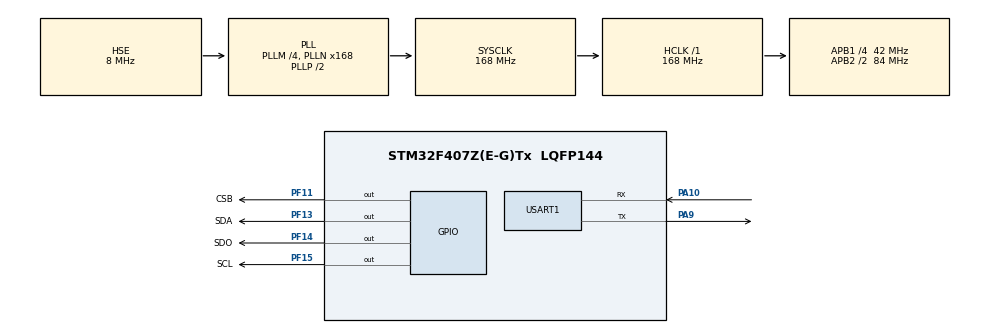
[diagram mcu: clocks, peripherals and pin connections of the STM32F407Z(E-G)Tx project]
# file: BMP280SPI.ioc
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Mcu.Family=STM32F4
Mcu.Name=STM32F407Z(E-G)Tx
Mcu.Package=LQFP144
NVIC.PriorityGroup=NVIC_PRIORITYGROUP_4
PA10.Mode=Asynchronous
PA10.Signal=USART1_RX
PA13.Mode=Serial_Wire
PA13.Signal=SYS_JTMS-SWDIO
PA14.Mode=Serial_Wire
PA14.Signal=SYS_JTCK-SWCLK
PA9.Mode=Asynchronous
PA9.Signal=USART1_TX
PC14-OSC32_IN.Mode=LSE-External-Oscillator
PC14-OSC32_IN.Signal=RCC_OSC32_IN
PC15-OSC32_OUT.Mode=LSE-External-Oscillator
PC15-OSC32_OUT.Signal=RCC_OSC32_OUT
PF11.GPIO_Label=CSB
PF11.Signal=GPIO_Output
PF13.GPIO_Label=SDA
PF13.Signal=GPIO_Output
PF14.GPIO_Label=SDO
PF14.Signal=GPIO_Output
PF15.GPIO_Label=SCL
PF15.Signal=GPIO_Output
PH0-OSC_IN.Mode=HSE-External-Oscillator
PH0-OSC_IN.Signal=RCC_OSC_IN
PH1-OSC_OUT.Mode=HSE-External-Oscillator
PH1-OSC_OUT.Signal=RCC_OSC_OUT
ProjectManager.HeapSize=0x200
ProjectManager.StackSize=0x400
ProjectManager.TargetToolchain=MDK-ARM V5.27
RCC.48MHZClocksFreq_Value=84000000
RCC.AHBFreq_Value=168000000
RCC.APB1CLKDivider=RCC_HCLK_DIV4
RCC.APB1Freq_Value=42000000
RCC.APB1TimFreq_Value=84000000
RCC.APB2CLKDivider=RCC_HCLK_DIV2
RCC.APB2Freq_Value=84000000
RCC.APB2TimFreq_Value=168000000
RCC.CortexFreq_Value=168000000
RCC.HCLKFreq_Value=168000000
RCC.HSE_VALUE=8000000
RCC.HSI_VALUE=16000000
RCC.PLLM=4
RCC.PLLN=168
RCC.PLLSourceVirtual=RCC_PLLSOURCE_HSE
RCC.SYSCLKFreq_VALUE=168000000
RCC.SYSCLKSource=RCC_SYSCLKSOURCE_PLLCLK
RCC.VCOOutputFreq_Value=336000000
USART1.VirtualMode=VM_ASYNC
board=custom

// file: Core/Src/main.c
/* USER CODE BEGIN Header */
/**
  ******************************************************************************
  * @file           : main.c
  * @brief          : Main program body
  ******************************************************************************
  * @attention
  *
  * <h2><center>&copy; Copyright (c) 2021 STMicroelectronics.
  * All rights reserved.</center></h2>
  *
  * This software component is licensed by ST under BSD 3-Clause license,
  * the "License"; You may not use this file except in compliance with the
  * License. You may obtain a copy of the License at:
  *                        opensource.org/licenses/BSD-3-Clause
  *
  ******************************************************************************
  */
/* USER CODE END Header */
#include "main.h"
#include "usart.h"
#include "gpio.h"

/* USER CODE BEGIN Includes */
#include "stdio.h"
uint8_t ch;
int fputc(int c,FILE *F){
	ch=c;
	HAL_UART_Transmit(&huart1,&ch,1,1000);
	return c;
}
#include "SPI.h"
/* USER CODE END Includes */

void SystemClock_Config(void);

int main(void)
{

  /* MCU Configuration--------------------------------------------------------*/

  /* Reset of all peripherals, Initializes the Flash interface and the Systick. */
  HAL_Init();

  /* Configure the system clock */
  SystemClock_Config();

  /* Initialize all configured peripherals */
  MX_GPIO_Init();
  MX_USART1_UART_Init();
  /* USER CODE BEGIN 2 */
	SPI_Init();
	SPI_CSB = 0;
	uint8_t ID;
	SPI_WriteByte(0xD0);
	ID = SPI_ReadByte();
	SPI_CSB = 1;
	printf("ID=%d\r\n",ID);
	SPI_SDA=0;
	HAL_Delay(100);
  /* USER CODE END 2 */

  /* Infinite loop */
  while (1)
  {

  }
}

void SystemClock_Config(void)
{
  RCC_OscInitTypeDef RCC_OscInitStruct = {0};
  RCC_ClkInitTypeDef RCC_ClkInitStruct = {0};

  /** Configure the main internal regulator output voltage
  */
  __HAL_RCC_PWR_CLK_ENABLE();
  __HAL_PWR_VOLTAGESCALING_CONFIG(PWR_REGULATOR_VOLTAGE_SCALE1);
  /** Initializes the RCC Oscillators according to the specified parameters
  * in the RCC_OscInitTypeDef structure.
  */
  RCC_OscInitStruct.OscillatorType = RCC_OSCILLATORTYPE_HSE;
  RCC_OscInitStruct.HSEState = RCC_HSE_ON;
  RCC_OscInitStruct.PLL.PLLState = RCC_PLL_ON;
  RCC_OscInitStruct.PLL.PLLSource = RCC_PLLSOURCE_HSE;
  RCC_OscInitStruct.PLL.PLLM = 4;
  RCC_OscInitStruct.PLL.PLLN = 168;
  RCC_OscInitStruct.PLL.PLLP = RCC_PLLP_DIV2;
  RCC_OscInitStruct.PLL.PLLQ = 4;
  if (HAL_RCC_OscConfig(&RCC_OscInitStruct) != HAL_OK)
  {
    Error_Handler();
  }
  /** Initializes the CPU, AHB and APB buses clocks
  */
  RCC_ClkInitStruct.ClockType = RCC_CLOCKTYPE_HCLK|RCC_CLOCKTYPE_SYSCLK
                              |RCC_CLOCKTYPE_PCLK1|RCC_CLOCKTYPE_PCLK2;
  RCC_ClkInitStruct.SYSCLKSource = RCC_SYSCLKSOURCE_PLLCLK;
  RCC_ClkInitStruct.AHBCLKDivider = RCC_SYSCLK_DIV1;
  RCC_ClkInitStruct.APB1CLKDivider = RCC_HCLK_DIV4;
  RCC_ClkInitStruct.APB2CLKDivider = RCC_HCLK_DIV2;

  if (HAL_RCC_ClockConfig(&RCC_ClkInitStruct, FLASH_LATENCY_5) != HAL_OK)
  {
    Error_Handler();
  }
}

void Error_Handler(void)
{
  __disable_irq();
  while (1)
  {
  }
}

/************************ (C) COPYRIGHT STMicroelectronics *****END OF FILE****/
